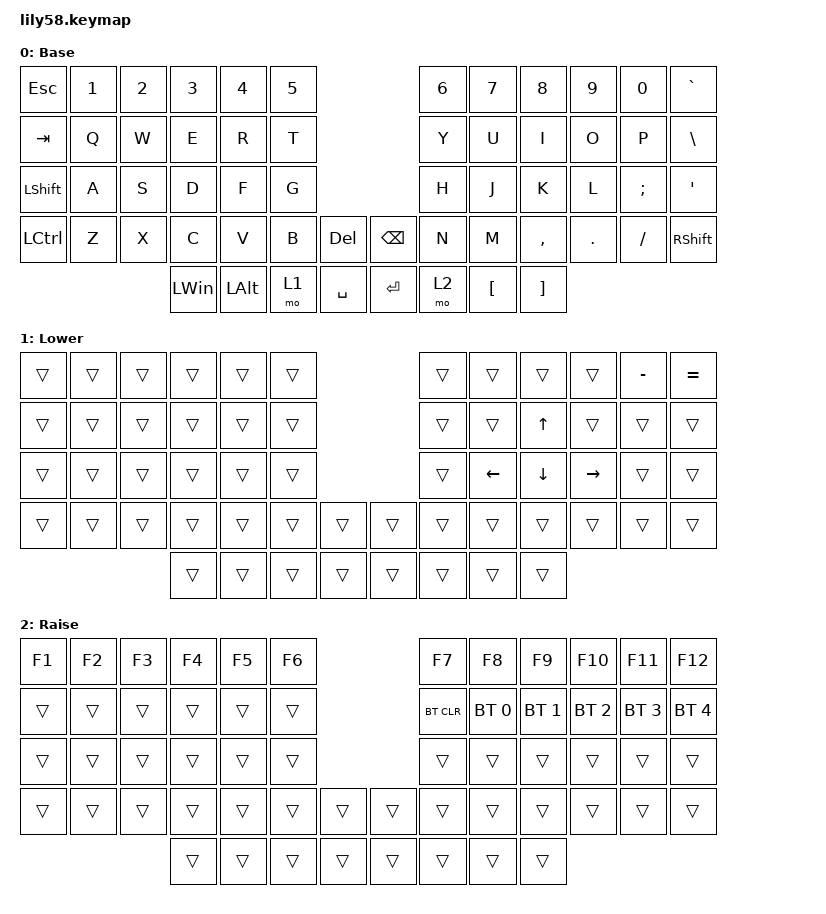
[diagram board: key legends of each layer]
/*
 * Copyright (c) 2020 The ZMK Contributors
 *
 * SPDX-License-Identifier: MIT
 */

#include <behaviors.dtsi>
#include <dt-bindings/zmk/bt.h>
#include <dt-bindings/zmk/keys.h>

/ {
    keymap {
        compatible = "zmk,keymap";

        default_layer {
// ------------------------------------------------------------------------------------------------------------
// |  ESC  |  1  |  2  |  3   |  4   |  5   |                   |  6   |  7    |  8    |  9   |   0   |   `   |
// |  TAB  |  Q  |  W  |  E   |  R   |  T   |                   |  Y   |  U    |  I    |  O   |   P   |   -   |
// |  CTRL |  A  |  S  |  D   |  F   |  G   |                   |  H   |  J    |  K    |  L   |   ;   |   '   |
// | SHIFT |  Z  |  X  |  C   |  V   |  B   |   "["  |  |  "]"  |  N   |  M    |  ,    |  .   |   /   | SHIFT |
//                     | ALT  | GUI  | LOWER|  SPACE |  | ENTER | RAISE| BSPC  | GUI   |
            display-name = "Base";
            bindings = <
&kp ESC           &kp N1  &kp N2  &kp N3        &kp N4        &kp N5                               &kp N6  &kp N7            &kp N8             &kp N9   &kp N0    &kp GRAVE
&kp TAB           &kp Q   &kp W   &kp E         &kp R         &kp T                                &kp Y   &kp U             &kp I              &kp O    &kp P     &kp BACKSLASH
&kp LEFT_SHIFT    &kp A   &kp S   &kp D         &kp F         &kp G                                &kp H   &kp J             &kp K              &kp L    &kp SEMI  &kp SQT
&kp LEFT_CONTROL  &kp Z   &kp X   &kp C         &kp V         &kp B   &kp DELETE    &kp BACKSPACE  &kp N   &kp M             &kp COMMA          &kp DOT  &kp FSLH  &kp RSHFT
                                  &kp LEFT_WIN  &kp LEFT_ALT  &mo 1   &kp SPACE     &kp RET        &mo 2   &kp LEFT_BRACKET  &kp RIGHT_BRACKET
            >;
        };

        low_layer {
            // ------------------------------------------------------------------------------------------------------------
            // |       |     |     |      |      |      |                   |      |       |       |      |       |       |
            // |   `   |  1  |  2  |  3   |  4   |  5   |                   |  6   |   7   |   8   |  9   |   0   |       |
            // |   F1  |  F2 |  F3 |  F4  |  F5  |  F6  |                   |      |   <-  |   v   |  ^   |  ->   |       |
            // |   F7  |  F8 |  F9 |  F10 |  F11 |  F12 |        |  |       |  +   |   -   |   =   |  [   |   ]   |   \   |
            //                     |      |      |      |        |  |       |      |       |       |

            display-name = "Lower";
            bindings = <
&trans  &trans  &trans  &trans  &trans  &trans                    &trans  &trans    &trans        &trans     &kp MINUS  &kp EQUAL
&trans  &trans  &trans  &trans  &trans  &trans                    &trans  &trans    &kp UP_ARROW  &trans     &trans     &trans
&trans  &trans  &trans  &trans  &trans  &trans                    &trans  &kp LEFT  &kp DOWN      &kp RIGHT  &trans     &trans
&trans  &trans  &trans  &trans  &trans  &trans  &trans    &trans  &trans  &trans    &trans        &trans     &trans     &trans
                        &trans  &trans  &trans  &trans    &trans  &trans  &trans    &trans
            >;
        };

        raise_layer {
            // ------------------------------------------------------------------------------------------------------------
            // | BTCLR | BT1 | BT2 |  BT3 |  BT4 |  BT5 |                   |      |       |       |      |       |       |
            // |  F1   |  F2 |  F3 |  F4  |  F5  |  F6  |                   |  F7  |  F8   |  F9   |  F10 |  F11  |  F12  |
            // |   `   |  !  |  @  |  #   |  $   |  %   |                   |  ^   |  &    |  *    |  (   |   )   |   ~   |
            // |       |     |     |      |      |      |        |  |       |      |  _    |  +    |  {   |   }   |  "|"  |
            //                     |      |      |      |        |  |       |      |       |       |

            display-name = "Raise";
            bindings = <
&kp F1  &kp F2  &kp F3  &kp F4  &kp F5  &kp F6                    &kp F7      &kp F8        &kp F9        &kp F10       &kp F11       &kp F12
&trans  &trans  &trans  &trans  &trans  &trans                    &bt BT_CLR  &bt BT_SEL 0  &bt BT_SEL 1  &bt BT_SEL 2  &bt BT_SEL 3  &bt BT_SEL 4
&trans  &trans  &trans  &trans  &trans  &trans                    &trans      &trans        &trans        &trans        &trans        &trans
&trans  &trans  &trans  &trans  &trans  &trans  &trans    &trans  &trans      &trans        &trans        &trans        &trans        &trans
                        &trans  &trans  &trans  &trans    &trans  &trans      &trans        &trans
            >;
        };
    };
};
